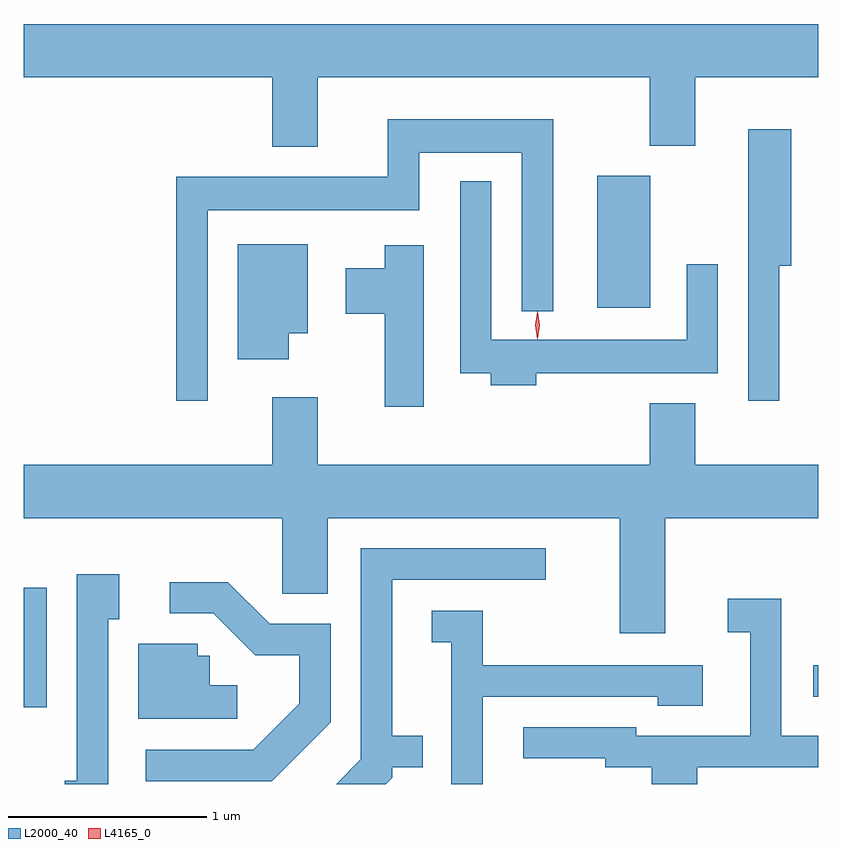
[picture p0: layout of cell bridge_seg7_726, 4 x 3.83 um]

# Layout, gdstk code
import gdstk
lib = gdstk.Library(unit=1e-6, precision=1e-09)
def R(c, l, rs):  # rectangles x0, y0, x1, y1
    for r in rs: c.add(gdstk.rectangle(r[:2], r[2:], *l))
def P(c, l, *ps):  # polygons
    for p in ps: c.add(gdstk.Polygon(p, *l))
L2000_40 = (2000, 40)
L4165_0 = (4165, 0)

bridge_seg7_726 = lib.new_cell('bridge_seg7_726')
R(bridge_seg7_726, L2000_40, [(560.539,1782.183,560.654,1782.784), (564.513,1782.236,564.539,1782.394), (563.426,1784.196,563.694,1784.859)])
P(bridge_seg7_726, L2000_40, [(562.019,1785.356),(563.691,1785.356),(563.691,1785.011),(563.919,1785.011),(563.919,1785.356),(564.539,1785.356),(564.539,1785.624),(560.539,1785.624),(560.539,1785.356),(561.791,1785.356),(561.791,1785.006),(562.019,1785.006)],
  [(561.464,1784.686),(562.529,1784.686),(562.529,1784.976),(563.046,1784.976),(563.046,1784.178),(563.204,1784.178),(563.204,1785.144),(562.371,1785.144),(562.371,1784.854),(561.306,1784.854),(561.306,1783.728),(561.464,1783.728)],
  [(564.344,1784.406),(564.404,1784.406),(564.404,1785.094),(564.186,1785.094),(564.186,1783.728),(564.344,1783.728)],
  [(563.119,1783.866),(564.034,1783.866),(564.034,1784.413),(563.876,1784.413),(563.876,1784.034),(562.894,1784.034),(562.894,1784.833),(562.736,1784.833),(562.736,1783.866),(562.891,1783.866),(562.891,1783.806),(563.119,1783.806)],
  [(561.874,1784.066),(561.969,1784.066),(561.969,1784.514),(561.616,1784.514),(561.616,1783.936),(561.874,1783.936)],
  [(562.554,1784.509),(562.356,1784.509),(562.356,1784.394),(562.161,1784.394),(562.161,1784.166),(562.356,1784.166),(562.356,1783.696),(562.554,1783.696)],
  [(563.769,1783.136),(564.539,1783.136),(564.539,1783.404),(563.919,1783.404),(563.919,1783.714),(563.691,1783.714),(563.691,1783.404),(562.019,1783.404),(562.019,1783.744),(561.791,1783.744),(561.791,1783.404),(560.539,1783.404),(560.539,1783.136),(561.841,1783.136),(561.841,1782.756),(562.069,1782.756),(562.069,1783.136),(563.541,1783.136),(563.541,1782.556),(563.769,1782.556)],
  [(562.394,1781.829),(562.394,1781.881),(562.548,1781.881),(562.548,1782.039),(562.394,1782.039),(562.394,1782.826),(563.168,1782.826),(563.168,1782.984),(562.236,1782.984),(562.236,1781.922),(562.111,1781.797),(562.362,1781.797)],
  [(560.964,1782.626),(561.019,1782.626),(561.019,1782.854),(560.806,1782.854),(560.806,1781.814),(560.746,1781.814),(560.746,1781.797),(560.964,1781.797)],
  [(562.084,1782.109),(562.084,1782.604),(561.777,1782.604),(561.567,1782.814),(561.273,1782.814),(561.273,1782.656),(561.494,1782.656),(561.704,1782.446),(561.926,1782.446),(561.926,1782.202),(561.694,1781.969),(561.153,1781.969),(561.153,1781.811),(561.787,1781.811)],
  [(563.929,1781.881),(564.539,1781.881),(564.539,1782.039),(564.354,1782.039),(564.354,1782.729),(564.083,1782.729),(564.083,1782.561),(564.196,1782.561),(564.196,1782.039),(563.624,1782.039),(563.624,1782.084),(563.053,1782.084),(563.053,1781.926),(563.466,1781.926),(563.466,1781.881),(563.701,1781.881),(563.701,1781.797),(563.929,1781.797)],
  [(562.849,1782.236),(563.731,1782.236),(563.731,1782.191),(563.959,1782.191),(563.959,1782.394),(562.849,1782.394),(562.849,1782.669),(562.593,1782.669),(562.593,1782.511),(562.691,1782.511),(562.691,1781.797),(562.849,1781.797)],
  [(561.613,1782.294),(561.474,1782.294),(561.474,1782.444),(561.414,1782.444),(561.414,1782.504),(561.116,1782.504),(561.116,1782.126),(561.613,1782.126)])
P(bridge_seg7_726, L4165_0, [(563.126,1784.037),(563.125,1784.038),(563.116,1784.107),(563.125,1784.176),(563.126,1784.176),(563.126,1784.176),(563.136,1784.107),(563.126,1784.038)],
  [(563.124,1784.04),(563.115,1784.106),(563.124,1784.172),(563.125,1784.173),(563.125,1784.172),(563.135,1784.106),(563.125,1784.04),(563.125,1784.04)])

lib.write_gds('bridge_seg7_726.gds')
